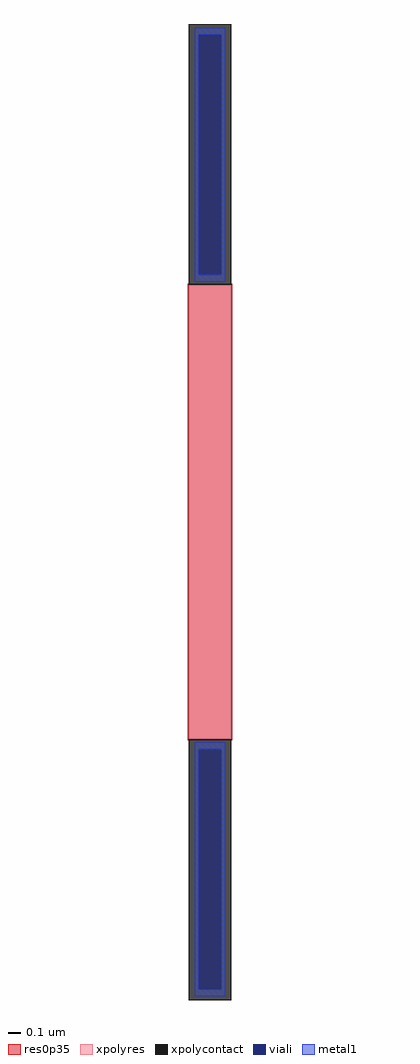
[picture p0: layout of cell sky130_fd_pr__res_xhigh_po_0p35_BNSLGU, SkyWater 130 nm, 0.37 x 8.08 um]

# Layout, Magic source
magic
tech sky130A
magscale 1 2
<< xpolycontact >>
rect -35 376 35 808
rect -35 -808 35 -376
<< xpolyres >>
rect -35 -376 35 376
<< viali >>
rect -19 393 19 790
rect -19 -790 19 -393
<< metal1 >>
rect -25 790 25 802
rect -25 393 -19 790
rect 19 393 25 790
rect -25 381 25 393
rect -25 -393 25 -381
rect -25 -790 -19 -393
rect 19 -790 25 -393
rect -25 -802 25 -790
<< res0p35 >>
rect -37 -378 37 378
<< properties >>
string gencell sky130_fd_pr__res_xhigh_po_0p35
string parameters w 0.350 l 3.763 m 1 nx 1 wmin 0.350 lmin 0.50 rho 2000 val 22.188k dummy 0 dw 0.0 term 120 sterm 0.0 caplen 0 wmax 0.350 guard 0 glc 1 grc 1 gtc 1 gbc 1 compatible {sky130_fd_pr__res_xhigh_po_0p35  sky130_fd_pr__res_xhigh_po_0p69 sky130_fd_pr__res_xhigh_po_1p41  sky130_fd_pr__res_xhigh_po_2p85 sky130_fd_pr__res_xhigh_po_5p73} full_metal 1 vias 1 viagb 0 viagt 0 viagl 0 viagr 0
string library sky130
<< end >>
